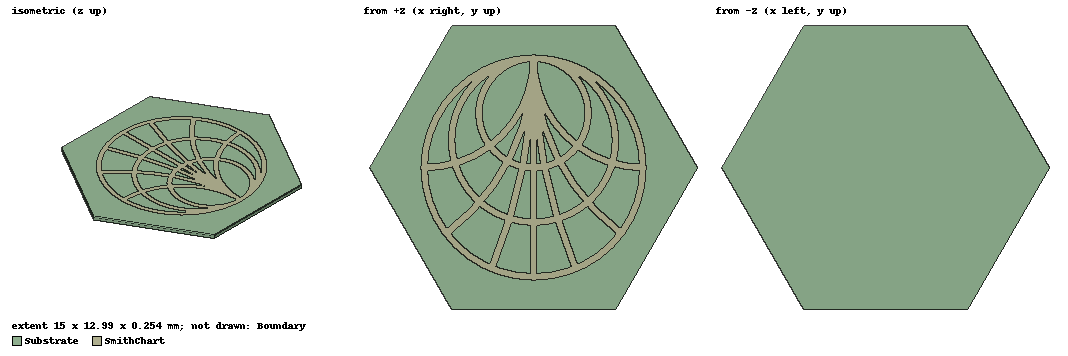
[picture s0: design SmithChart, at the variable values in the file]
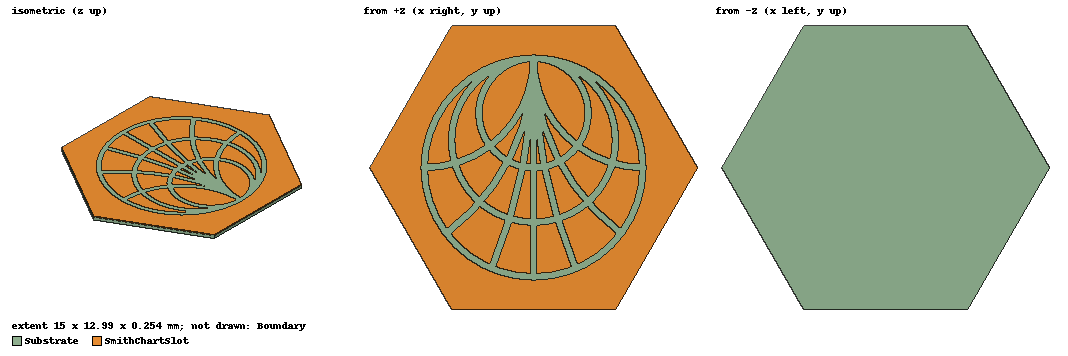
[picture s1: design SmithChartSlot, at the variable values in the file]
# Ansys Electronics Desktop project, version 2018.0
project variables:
  $rad = 5mm
  $line_width = 0.3mm
  $theta = 0
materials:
  vacuum: permittivity=1
  FR4_epoxy: permittivity=4.4 dielectric_loss_tangent=0.02
  copper: permeability=0.999991 conductivity=58000000
  polypropylene: permittivity=2.2
  Rogers RT/duroid 5880 (tm): permittivity=2.2 dielectric_loss_tangent=0.0009

design SmithChart (HFSS, DrivenModal, model units mm)
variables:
  line_width = $line_width
  rad = $rad
  sub_h = 10mil
  boundary_h = 100*sub_h
  sub_rad = 1.5*rad
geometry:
  SmithChart = polyline(z=0mm, xy: (0mm, rad) (-1.4644661mm, 1.4644661mm) (-5mm, 0mm), AngularArc from point 0 over 3 centre=(-rad, rad, 0mm) angle=-90deg plane=XY, section line width=line_width)
  Polyline4_1 = SmithChart.duplicate_mirror(point=(0mm, 1mm, 0mm), normal=(1mm, 0mm, 0mm))
  SmithChart.unite(Polyline4_1)
  imag_2 = polyline(z=0mm, xy: (0mm, rad) (-1.0506564mm, 0.53802187mm) (-3.9818498mm, -2.9863551mm), AngularArc from point 0 over 3 centre=(-2*rad, rad, 0mm) angle=-53deg plane=XY, section line width=line_width)
  Polyline4_2 = imag_2.duplicate_mirror(point=(0mm, 1mm, 0mm), normal=(1mm, 0mm, 0mm))
  imag_2.unite(Polyline4_2)
  imag_3 = polyline(z=0mm, xy: (0mm, rad) (-0.48036799mm, 0.12274195mm) (-1.9030117mm, -4.5670858mm), AngularArc from point 0 over 3 centre=(-5*rad, rad, 0mm) angle=-22.5deg plane=XY, section line width=line_width)
  Polyline4_3 = imag_3.duplicate_mirror(point=(0mm, 1mm, 0mm), normal=(1mm, 0mm, 0mm))
  imag_3.unite(Polyline4_3)
  Polyline1 = polyline(z=0mm, xy: (0mm, rad) (-5mm, -4.9789963e-16mm) (1.9173793e-16mm, -5mm), AngularArc from point 0 over 3 centre=(0mm, 0mm, 0mm) angle=180deg plane=XY, section line width=line_width)
  Outer_radius = Polyline1.duplicate_mirror(point=(0mm, 0mm, 0mm), normal=(1mm, 0mm, 0mm))
  Outer_radius.unite(Polyline1)
  Polyline2 = polyline(z=0mm, xy: (0mm, rad) (-2.5mm, 2.5mm) (9.5868963e-17mm, 0mm), AngularArc from point 0 over 3 centre=(0mm, rad/2, 0mm) angle=180deg plane=XY, section line width=line_width)
  real_1 = Polyline2.duplicate_mirror(point=(0mm, 0mm, 0mm), normal=(1mm, 0mm, 0mm))
  real_1.unite(Polyline2)
  Polyline3 = polyline(z=0mm, xy: (0mm, rad) (-3.75mm, 1.25mm) (1.4380344e-16mm, -2.5mm), AngularArc from point 0 over 3 centre=(0mm, rad/4, 0mm) angle=180deg plane=XY, section line width=line_width)
  real_2 = Polyline3.duplicate_mirror(point=(0mm, 0mm, 0mm), normal=(1mm, 0mm, 0mm))
  real_2.unite(Polyline3)
  real_line = polyline((0mm, -rad, 0mm) (0mm, rad, 0mm), section line width=line_width)
  SmithChart.unite(imag_2, imag_3, Outer_radius, real_1, real_2, real_line)
  Substrate [Rogers RT/duroid 5880 (tm)] = polyline(z=0mm, xy: (sub_rad, 0mm) (sub_rad/2, (sqrt(3)/2)*sub_rad) (-sub_rad/2, (sqrt(3)/2)*sub_rad) (-sub_rad, 0mm) (-sub_rad/2, -(sqrt(3)/2)*sub_rad) (sub_rad/2, -(sqrt(3)/2)*sub_rad) (sub_rad, 0mm), closed, covered)
  Substrate.sweep_along_vector((0mm, 0mm, -sub_h))
  Boundary [vacuum] = polyline(z=-boundary_h/2, xy: (sub_rad, 0mm) (sub_rad/2, (sqrt(3)/2)*sub_rad) (-sub_rad/2, (sqrt(3)/2)*sub_rad) (-sub_rad, 0mm) (-sub_rad/2, -(sqrt(3)/2)*sub_rad) (sub_rad/2, -(sqrt(3)/2)*sub_rad) (sub_rad, 0mm), closed, covered)
  Boundary.sweep_along_vector((0mm, 0mm, boundary_h))
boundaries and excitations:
  FiniteCond1: Finite Conductivity Objects=SmithChart UseMaterial Material=copper IsInternal
  Master1: Master Faces=Boundary.face(#1641) CoordSysVector{Boundary.vertex(6 of 6) -> Boundary.vertex(1 of 6)} ReverseV
  Slave1: Slave Faces=Boundary.face(#1644) CoordSysVector{Boundary.vertex(4 of 6) -> Boundary.vertex(3 of 6)} master=Master1 UseScanAngles Phi=0deg Theta=0deg
  Master2: Master Faces=Boundary.face(#1646) CoordSysVector{Boundary.vertex(2 of 6) -> Boundary.vertex(1 of 6)} ReverseV
  Slave2: Slave Faces=Boundary.face(#1643) CoordSysVector{Boundary.vertex(4 of 6) -> Boundary.vertex(5 of 6)} master=Master2 UseScanAngles Phi=0deg Theta=0deg
  Master3: Master Faces=Boundary.face(#1645) CoordSysVector{Boundary.vertex(2 of 6) -> Boundary.vertex(3 of 6)} ReverseV
  Slave3: Slave Faces=Boundary.face(#1642) CoordSysVector{Boundary.vertex(6 of 6) -> Boundary.vertex(5 of 6)} master=Master3 UseScanAngles Phi=0deg Theta=0deg
  FloquetPort1: Floquet Port Faces=Boundary.face(#1647) NumModes=2 Modes{Mode1{CharImp=Zpi} Mode2{CharImp=Zpi}} UseScanAngles Phi=0deg Theta=0deg LatticeAVector{Boundary.vertex(#1660) -> Boundary.vertex(#1665)} LatticeBVector{Boundary.vertex(#1660) -> Boundary.vertex(#1661)} ModesCalculator{Frequency=10GHz FrequencyChanged PhiStart=0deg PhiStop=0deg PhiStep=0deg ThetaStart=0deg ThetaStop=0deg ThetaStep=0deg} ModesList{Mode{ModeNumber=1 IndexM=0 IndexN=0 KC2=0 PropagationState=Propagating Attenuation=0 PolarizationState=TE AffectsRefinement} Mode{ModeNumber=2 IndexM=0 IndexN=0 KC2=0 PropagationState=Propagating Attenuation=0 PolarizationState=TM AffectsRefinement}}
  FloquetPort2: Floquet Port Faces=Boundary.face(at (0, 0, -12.7)) NumModes=2 Modes{Mode1{CharImp=Zpi} Mode2{CharImp=Zpi}} UseScanAngles Phi=0deg Theta=0deg LatticeAVector{Boundary.vertex(1 of 6) -> Boundary.vertex(2 of 6)} LatticeBVector{Boundary.vertex(1 of 6) -> Boundary.vertex(6 of 6)} ModesList{Mode{ModeNumber=1 IndexM=0 IndexN=0 KC2=0 PropagationState=Propagating Attenuation=0 PolarizationState=TE AffectsRefinement} Mode{ModeNumber=2 IndexM=0 IndexN=0 KC2=0 PropagationState=Propagating Attenuation=0 PolarizationState=TM AffectsRefinement}}
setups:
  Setup2: HfssDriven AdaptMultipleFreqs MultipleAdaptiveFreqsSetup{20GHz(0.01) 22GHz(0.01) 24GHz(0.01)} MaximumPasses=6 MinimumPasses=5 MinimumConvergedPasses=2 PercentRefinement=30 BasisOrder=1 PortAccuracy=2
    sweep Sweep: 18GHz to 26GHz, 3501 points; Type=Interpolating InterpTolerance=0.5 InterpMaxSolns=250 InterpUsePortImped=false PassivityErrorTolerance=0.0001
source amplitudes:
  FloquetPort1:1: 1W 0deg
  FloquetPort1:2, FloquetPort2:1, FloquetPort2:2: 0W 0deg
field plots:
  Mag_Jsurf1: Jsurf over SmithChart.face(at (-2.425, 2.425, 0)) on Setup2 : LastAdaptive at Freq=20GHz Phase=0deg
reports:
  S Parameter Plot 1: dB(S(FloquetPort2:1,FloquetPort1:1)) vs Freq on Setup2 : Sweep; markers MX1 at x=2.2323428e+10

design SmithChartSlot (HFSS, DrivenModal, model units mm)
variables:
  line_width = $line_width
  rad = $rad
  sub_h = 10mil
  boundary_h = 100*sub_h
  sub_rad = 1.5*rad
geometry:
  SmithChart = polyline(z=0mm, xy: (0mm, rad) (-1.4644661mm, 1.4644661mm) (-5mm, 0mm), AngularArc from point 0 over 3 centre=(-rad, rad, 0mm) angle=-90deg plane=XY, section line width=line_width)
  Polyline4_1 = SmithChart.duplicate_mirror(point=(0mm, 1mm, 0mm), normal=(1mm, 0mm, 0mm))
  SmithChart.unite(Polyline4_1)
  imag_2 = polyline(z=0mm, xy: (0mm, rad) (-1.0506564mm, 0.53802187mm) (-3.9818498mm, -2.9863551mm), AngularArc from point 0 over 3 centre=(-2*rad, rad, 0mm) angle=-53deg plane=XY, section line width=line_width)
  Polyline4_2 = imag_2.duplicate_mirror(point=(0mm, 1mm, 0mm), normal=(1mm, 0mm, 0mm))
  imag_2.unite(Polyline4_2)
  imag_3 = polyline(z=0mm, xy: (0mm, rad) (-0.48036799mm, 0.12274195mm) (-1.9030117mm, -4.5670858mm), AngularArc from point 0 over 3 centre=(-5*rad, rad, 0mm) angle=-22.5deg plane=XY, section line width=line_width)
  Polyline4_3 = imag_3.duplicate_mirror(point=(0mm, 1mm, 0mm), normal=(1mm, 0mm, 0mm))
  imag_3.unite(Polyline4_3)
  Polyline1 = polyline(z=0mm, xy: (0mm, rad) (-5mm, -4.9789963e-16mm) (1.9173793e-16mm, -5mm), AngularArc from point 0 over 3 centre=(0mm, 0mm, 0mm) angle=180deg plane=XY, section line width=line_width)
  Outer_radius = Polyline1.duplicate_mirror(point=(0mm, 0mm, 0mm), normal=(1mm, 0mm, 0mm))
  Outer_radius.unite(Polyline1)
  Polyline2 = polyline(z=0mm, xy: (0mm, rad) (-2.5mm, 2.5mm) (9.5868963e-17mm, 0mm), AngularArc from point 0 over 3 centre=(0mm, rad/2, 0mm) angle=180deg plane=XY, section line width=line_width)
  real_1 = Polyline2.duplicate_mirror(point=(0mm, 0mm, 0mm), normal=(1mm, 0mm, 0mm))
  real_1.unite(Polyline2)
  Polyline3 = polyline(z=0mm, xy: (0mm, rad) (-3.75mm, 1.25mm) (1.4380344e-16mm, -2.5mm), AngularArc from point 0 over 3 centre=(0mm, rad/4, 0mm) angle=180deg plane=XY, section line width=line_width)
  real_2 = Polyline3.duplicate_mirror(point=(0mm, 0mm, 0mm), normal=(1mm, 0mm, 0mm))
  real_2.unite(Polyline3)
  real_line = polyline((0mm, -rad, 0mm) (0mm, rad, 0mm), section line width=line_width)
  SmithChart.unite(imag_2, imag_3, Outer_radius, real_1, real_2, real_line)
  Substrate [Rogers RT/duroid 5880 (tm)] = polyline(z=0mm, xy: (sub_rad, 0mm) (sub_rad/2, (sqrt(3)/2)*sub_rad) (-sub_rad/2, (sqrt(3)/2)*sub_rad) (-sub_rad, 0mm) (-sub_rad/2, -(sqrt(3)/2)*sub_rad) (sub_rad/2, -(sqrt(3)/2)*sub_rad) (sub_rad, 0mm), closed, covered)
  Substrate.sweep_along_vector((0mm, 0mm, -sub_h))
  Boundary [vacuum] = polyline(z=-boundary_h/2, xy: (sub_rad, 0mm) (sub_rad/2, (sqrt(3)/2)*sub_rad) (-sub_rad/2, (sqrt(3)/2)*sub_rad) (-sub_rad, 0mm) (-sub_rad/2, -(sqrt(3)/2)*sub_rad) (sub_rad/2, -(sqrt(3)/2)*sub_rad) (sub_rad, 0mm), closed, covered)
  Boundary.sweep_along_vector((0mm, 0mm, boundary_h))
  SmithChartSlot [Rogers RT/duroid 5880 (tm)] = object_from(Substrate.face(at (0, 0, 0)))
  SmithChartSlot.subtract(SmithChart)
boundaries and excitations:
  Master1: Master Faces=Boundary.face(#1641) CoordSysVector{Boundary.vertex(6 of 6) -> Boundary.vertex(1 of 6)} ReverseV
  Slave1: Slave Faces=Boundary.face(#1644) CoordSysVector{Boundary.vertex(4 of 6) -> Boundary.vertex(3 of 6)} master=Master1 UseScanAngles Phi=0deg Theta=0deg
  Master2: Master Faces=Boundary.face(#1646) CoordSysVector{Boundary.vertex(2 of 6) -> Boundary.vertex(1 of 6)} ReverseV
  Slave2: Slave Faces=Boundary.face(#1643) CoordSysVector{Boundary.vertex(4 of 6) -> Boundary.vertex(5 of 6)} master=Master2 UseScanAngles Phi=0deg Theta=0deg
  Master3: Master Faces=Boundary.face(#1645) CoordSysVector{Boundary.vertex(2 of 6) -> Boundary.vertex(3 of 6)} ReverseV
  Slave3: Slave Faces=Boundary.face(#1642) CoordSysVector{Boundary.vertex(6 of 6) -> Boundary.vertex(5 of 6)} master=Master3 UseScanAngles Phi=0deg Theta=0deg
  FiniteCond1: Finite Conductivity Objects=SmithChartSlot UseMaterial Material=copper IsInternal
  FloquetPort1: Floquet Port Faces=Boundary.face(#1647) NumModes=2 Modes{Mode1{CharImp=Zpi} Mode2{CharImp=Zpi}} UseScanAngles Phi=0deg Theta=0deg LatticeAVector{Boundary.vertex(#1660) -> Boundary.vertex(#1665)} LatticeBVector{Boundary.vertex(#1660) -> Boundary.vertex(#1661)} ModesCalculator{Frequency=10GHz FrequencyChanged PhiStart=0deg PhiStop=0deg PhiStep=0deg ThetaStart=0deg ThetaStop=0deg ThetaStep=0deg} ModesList{Mode{ModeNumber=1 IndexM=0 IndexN=0 KC2=0 PropagationState=Propagating Attenuation=0 PolarizationState=TE AffectsRefinement} Mode{ModeNumber=2 IndexM=0 IndexN=0 KC2=0 PropagationState=Propagating Attenuation=0 PolarizationState=TM AffectsRefinement}}
  FloquetPort2: Floquet Port Faces=Boundary.face(at (0, 0, -12.7)) NumModes=2 Modes{Mode1{CharImp=Zpi} Mode2{CharImp=Zpi}} UseScanAngles Phi=0deg Theta=0deg LatticeAVector{Boundary.vertex(1 of 6) -> Boundary.vertex(2 of 6)} LatticeBVector{Boundary.vertex(1 of 6) -> Boundary.vertex(6 of 6)} ModesList{Mode{ModeNumber=1 IndexM=0 IndexN=0 KC2=0 PropagationState=Propagating Attenuation=0 PolarizationState=TE AffectsRefinement} Mode{ModeNumber=2 IndexM=0 IndexN=0 KC2=0 PropagationState=Propagating Attenuation=0 PolarizationState=TM AffectsRefinement}}
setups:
  Setup2: HfssDriven AdaptMultipleFreqs MultipleAdaptiveFreqsSetup{6GHz(0.01) 8GHz(0.01) 10GHz(0.01) 12GHz(0.01) 14GHz(0.01) 16GHz(0.01)} MaximumPasses=8 MinimumPasses=5 MinimumConvergedPasses=2 PercentRefinement=30 BasisOrder=1 PortAccuracy=2
    sweep Sweep: 3GHz to 18GHz, 451 points; Type=Interpolating InterpTolerance=0.5 InterpMaxSolns=250 InterpUsePortImped=false PassivityErrorTolerance=0.0001
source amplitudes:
  FloquetPort1:1: 1W 0deg
  FloquetPort1:2, FloquetPort2:1, FloquetPort2:2: 0W 0deg
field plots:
  ComplexMag_Jsurf1: Jsurf over SmithChartSlot.face(all 25) on Setup2 : LastAdaptive at Freq=14GHz Phase=0deg
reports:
  S Parameter Plot 2: dB(S(FloquetPort2:1,FloquetPort1:1)) vs Freq on Setup2 : Sweep
